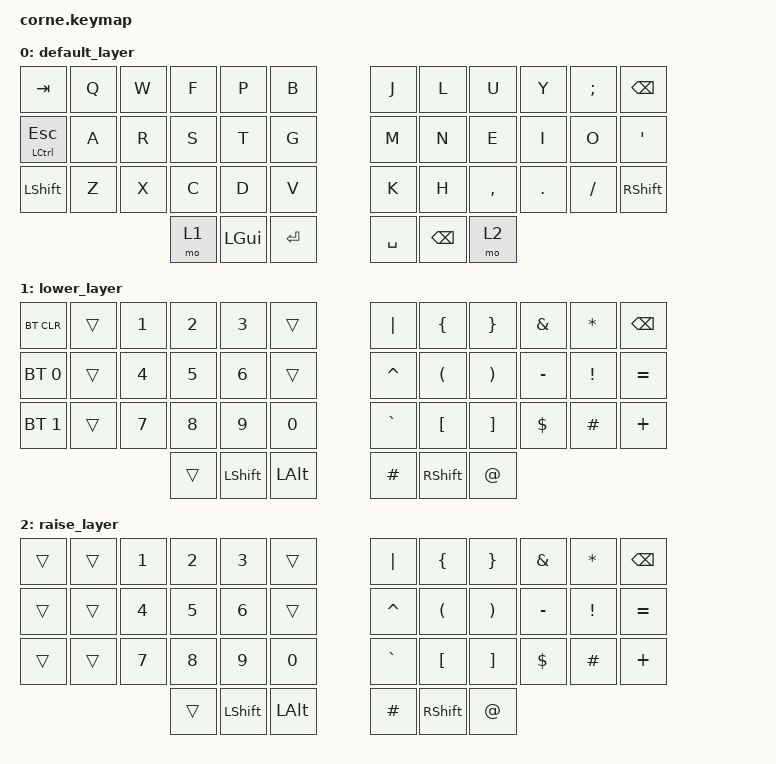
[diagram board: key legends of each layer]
/*
 * Copyright (c) 2020 The ZMK Contributors
 *
 * SPDX-License-Identifier: MIT
 */

#include <behaviors.dtsi>
#include <dt-bindings/zmk/keys.h>
#include <dt-bindings/zmk/bt.h>

/ {
        keymap {
                compatible = "zmk,keymap";
                label = "Colemak-DHm";
                default_layer {
                        bindings = <
   &kp TAB       &kp Q  &kp W  &kp F   &kp P      &kp B               &kp J     &kp L     &kp U     &kp Y     &kp SEMI &kp BSPC
   &mt LCTRL ESC &kp A  &kp R  &kp S   &kp T      &kp G               &kp M     &kp N     &kp E     &kp I     &kp O    &kp SQT
   &kp LSHFT     &kp Z  &kp X  &kp C   &kp D      &kp V               &kp K     &kp H     &kp COMMA &kp DOT   &kp FSLH &kp RSHFT
                               &mo 1   &kp LGUI   &kp RET             &kp SPACE &kp BSPC  &mo 2
                        >;
                };
                lower_layer {
                        bindings = <
   &bt BT_CLR    &trans &kp N1 &kp N2  &kp N3     &trans              &kp PIPE  &kp LBRC  &kp RBRC   &kp AMPS  &kp STAR &kp BSPC
   &bt BT_SEL 0  &trans &kp N4 &kp N5  &kp N6     &trans              &kp CARET &kp LPAR  &kp RPAR   &kp MINUS &kp EXCL &kp EQUAL
   &bt BT_SEL 1  &trans &kp N7 &kp N8  &kp N9     &kp N0              &kp GRAVE &kp LBKT  &kp RBKT   &kp DLLR  &kp HASH &kp PLUS
                               &trans  &kp LSHIFT &kp LALT            &kp HASH  &kp RSHFT &kp AT
                        >;
                };
                raise_layer {
                        bindings = <
   &trans        &trans &kp N1 &kp N2  &kp N3     &trans              &kp PIPE  &kp LBRC  &kp RBRC   &kp AMPS  &kp STAR &kp BSPC
   &trans        &trans &kp N4 &kp N5  &kp N6     &trans              &kp CARET &kp LPAR  &kp RPAR   &kp MINUS &kp EXCL &kp EQUAL
   &trans        &trans &kp N7 &kp N8  &kp N9     &kp N0              &kp GRAVE &kp LBKT  &kp RBKT   &kp DLLR  &kp HASH &kp PLUS
                               &trans  &kp LSHIFT &kp LALT            &kp HASH  &kp RSHFT &kp AT
                        >;
                };
        };
};
